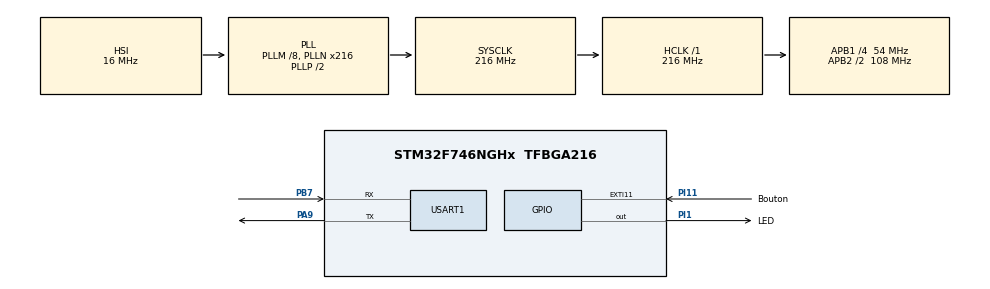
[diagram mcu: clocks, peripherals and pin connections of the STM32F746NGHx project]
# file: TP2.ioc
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Mcu.Family=STM32F7
Mcu.Name=STM32F746NGHx
Mcu.Package=TFBGA216
NVIC.EXTI15_10_IRQn=true\:0\:0\:false\:false\:true\:true\:true
NVIC.PriorityGroup=NVIC_PRIORITYGROUP_4
NVIC.TIM2_IRQn=true\:0\:0\:false\:false\:true\:true\:true
PA13.Mode=Serial_Wire
PA13.Signal=SYS_JTMS-SWDIO
PA14.Mode=Serial_Wire
PA14.Signal=SYS_JTCK-SWCLK
PA9.Mode=Asynchronous
PA9.Signal=USART1_TX
PB7.Mode=Asynchronous
PB7.Signal=USART1_RX
PH0/OSC_IN.Mode=HSE-External-Oscillator
PH0/OSC_IN.Signal=RCC_OSC_IN
PH1/OSC_OUT.Mode=HSE-External-Oscillator
PH1/OSC_OUT.Signal=RCC_OSC_OUT
PI1.GPIO_Label=LED
PI1.Signal=GPIO_Output
PI11.GPIO_Label=Bouton
PI11.GPIO_ModeDefaultEXTI=GPIO_MODE_IT_RISING
PI11.Signal=GPXTI11
ProjectManager.HeapSize=0x200
ProjectManager.StackSize=0x400
ProjectManager.TargetToolchain=STM32CubeIDE
RCC.AHBFreq_Value=216000000
RCC.APB1CLKDivider=RCC_HCLK_DIV4
RCC.APB1Freq_Value=54000000
RCC.APB1TimFreq_Value=108000000
RCC.APB2CLKDivider=RCC_HCLK_DIV2
RCC.APB2Freq_Value=108000000
RCC.APB2TimFreq_Value=216000000
RCC.CortexFreq_Value=216000000
RCC.HCLKFreq_Value=216000000
RCC.HSE_VALUE=25000000
RCC.HSI_VALUE=16000000
RCC.LSE_VALUE=32768
RCC.PLLM=8
RCC.PLLN=216
RCC.PLLSourceVirtual=RCC_PLLSOURCE_HSI
RCC.SYSCLKFreq_VALUE=216000000
RCC.SYSCLKSource=RCC_SYSCLKSOURCE_PLLCLK
RCC.USBFreq_Value=216000000
RCC.VCOOutputFreq_Value=432000000
TIM2.Period=10799
TIM2.Prescaler=9999
USART1.VirtualMode-Asynchronous=VM_ASYNC
VP_TIM2_VS_ClockSourceINT.Mode=Internal
board=STM32F746G-DISCO

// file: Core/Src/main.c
/* USER CODE BEGIN Header */
/**
  ******************************************************************************
  * @file           : main.c
  * @brief          : Main program body
  ******************************************************************************
  * @attention
  *
  * Copyright (c) 2022 STMicroelectronics.
  * All rights reserved.
  *
  * This software is licensed under terms that can be found in the LICENSE file
  * in the root directory of this software component.
  * If no LICENSE file comes with this software, it is provided AS-IS.
  *
  ******************************************************************************
  */
/* USER CODE END Header */
#include "main.h"
#include "tim.h"
#include "usart.h"
#include "gpio.h"

/* USER CODE BEGIN Includes */
#include <stdio.h>
#include <string.h>
#include "shell.h"
/* USER CODE END Includes */

/* USER CODE BEGIN PV */
int i=0;
int freq_tab[4]={9999,4999,2499,1249};
char buffer;
int shell_on=1;
int state=0;
uint8_t UART1_rxBuffer[12] = {0};
/* USER CODE END PV */

void SystemClock_Config(void);

/* USER CODE BEGIN 0 */
int __io_putchar(int ch)
{
	// transmettre ch
	HAL_UART_Transmit(&huart1, &ch, 1, HAL_MAX_DELAY);
	return ch;
}
/* USER CODE END 0 */

int main(void)
{
  /* USER CODE BEGIN 1 */
	int T_2=1000; // T_2 est la demi-période de clignotement
  /* USER CODE END 1 */

  /* MCU Configuration--------------------------------------------------------*/

  /* Reset of all peripherals, Initializes the Flash interface and the Systick. */
  HAL_Init();

  /* Configure the system clock */
  SystemClock_Config();

  /* Initialize all configured peripherals */
  MX_GPIO_Init();
  MX_TIM2_Init();
  MX_USART1_UART_Init();
  /* USER CODE BEGIN 2 */

  HAL_TIM_Base_Start_IT(&htim2);

  /* USER CODE END 2 */

  /* Infinite loop */
  /* USER CODE BEGIN WHILE */
  while (1)
  {
//	  HAL_GPIO_TogglePin(LED_GPIO_Port, LED_Pin); // Toggle The Output (LED) Pin
//	  HAL_Delay(T_2);
	  //HAL_UART_Receive(&huart1,&buffer, 1, HAL_MAX_DELAY);
	  //HAL_UART_Transmit(&huart1, buffer, 1, HAL_MAX_DELAY);
	  //HAL_UART_Transmit(&huart1, "\n", 1, HAL_MAX_DELAY);
	  //HAL_UART_Transmit(&huart1, "\r", 1, HAL_MAX_DELAY);
	  //printf("%d\n\r",buffer);
	  shell();

    /* USER CODE END WHILE */

  }
}

void SystemClock_Config(void)
{
  RCC_OscInitTypeDef RCC_OscInitStruct = {0};
  RCC_ClkInitTypeDef RCC_ClkInitStruct = {0};

  /** Configure the main internal regulator output voltage
  */
  __HAL_RCC_PWR_CLK_ENABLE();
  __HAL_PWR_VOLTAGESCALING_CONFIG(PWR_REGULATOR_VOLTAGE_SCALE1);
  /** Initializes the RCC Oscillators according to the specified parameters
  * in the RCC_OscInitTypeDef structure.
  */
  RCC_OscInitStruct.OscillatorType = RCC_OSCILLATORTYPE_HSI;
  RCC_OscInitStruct.HSIState = RCC_HSI_ON;
  RCC_OscInitStruct.HSICalibrationValue = RCC_HSICALIBRATION_DEFAULT;
  RCC_OscInitStruct.PLL.PLLState = RCC_PLL_ON;
  RCC_OscInitStruct.PLL.PLLSource = RCC_PLLSOURCE_HSI;
  RCC_OscInitStruct.PLL.PLLM = 8;
  RCC_OscInitStruct.PLL.PLLN = 216;
  RCC_OscInitStruct.PLL.PLLP = RCC_PLLP_DIV2;
  RCC_OscInitStruct.PLL.PLLQ = 2;
  if (HAL_RCC_OscConfig(&RCC_OscInitStruct) != HAL_OK)
  {
    Error_Handler();
  }
  /** Activate the Over-Drive mode
  */
  if (HAL_PWREx_EnableOverDrive() != HAL_OK)
  {
    Error_Handler();
  }
  /** Initializes the CPU, AHB and APB buses clocks
  */
  RCC_ClkInitStruct.ClockType = RCC_CLOCKTYPE_HCLK|RCC_CLOCKTYPE_SYSCLK
                              |RCC_CLOCKTYPE_PCLK1|RCC_CLOCKTYPE_PCLK2;
  RCC_ClkInitStruct.SYSCLKSource = RCC_SYSCLKSOURCE_PLLCLK;
  RCC_ClkInitStruct.AHBCLKDivider = RCC_SYSCLK_DIV1;
  RCC_ClkInitStruct.APB1CLKDivider = RCC_HCLK_DIV4;
  RCC_ClkInitStruct.APB2CLKDivider = RCC_HCLK_DIV2;

  if (HAL_RCC_ClockConfig(&RCC_ClkInitStruct, FLASH_LATENCY_7) != HAL_OK)
  {
    Error_Handler();
  }
}

/* USER CODE BEGIN 4 */

void HAL_GPIO_EXTI_Callback(uint16_t GPIO_Pin)
{
	if(GPIO_Pin == Bouton_Pin) // If The INT Source Is EXTI Line9 (A9 Pin)
	    {
			TIM2->PSC=freq_tab[i];
			i++;
			if (i>3)
			{
				i=0;
			}
	    	//HAL_GPIO_TogglePin(LED_GPIO_Port, LED_Pin); // Toggle The Output (LED) Pin
	    }
}
void HAL_TIM_PeriodElapsedCallback(TIM_HandleTypeDef *htim)
{
  // Check which version of the timer triggered this callback and toggle LED
	if (htim == &htim2 )
	{
		if(state==LED_TOGGLE)
		{
			HAL_GPIO_TogglePin(LED_GPIO_Port, LED_Pin);
		}
	}
}

/* USER CODE END 4 */

void Error_Handler(void)
{
  __disable_irq();
  while (1)
  {
  }
}
